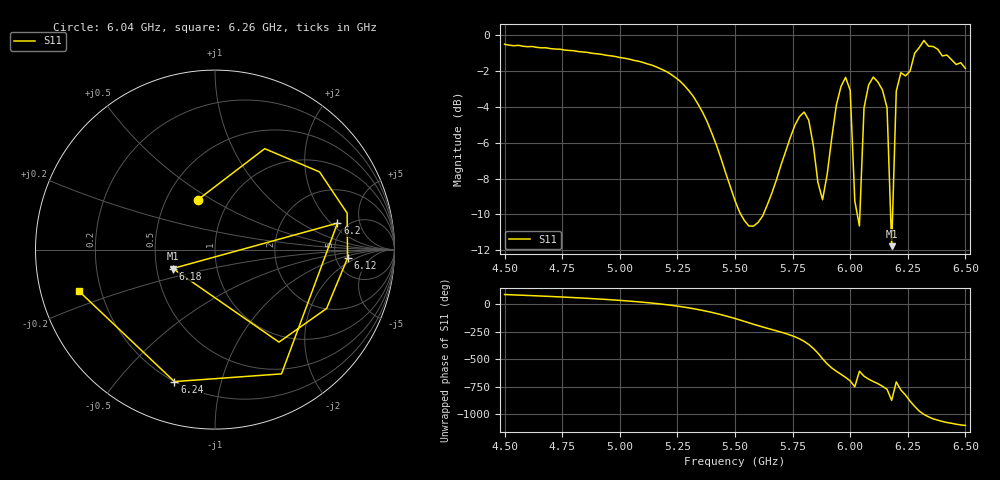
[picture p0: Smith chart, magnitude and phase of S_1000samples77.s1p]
! TOUCHSTONE file generated by CST MICROWAVE STUDIO
! Date and time: Wed Oct 26 22:07:00 2022
! Project name: L.cst
! Parameters = {Di=1.27; Epsilon_r=1.56; InnerDiameter=1.27; Length=2; Lf=10; Lg=60; OuterConductorThickness=0.2921; OuterDiameter=3.6; Wf=3; Wp=41.2; de=1.5; df=6.8; g=0.8; gx=4.51742; gy=2.35606; h=2.34; hf=1.524; px=12.0983; py=14.5677; w=9.7; wx=7.58083; wy=12.2116}
! Header version: 2018
! Port assignment regex: !\s*Touchstone port\s*([0-9]+)\s*=\s*(CST MWS port|CST DS port)\s*([0-9]+|Zmin|Zmax)\s*\(\"(.*)\"\)(\s*mode\s*([0-9]+))?.*
! Touchstone port assignment:
! Touchstone port 1 = CST MWS port 1 ("")
# GHz S DB R 50
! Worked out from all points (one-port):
!   101 points, 4.5 GHz to 6.5 GHz, reference 50 ohm
!   lowest |S11| = -11.8 dB at 6.18 GHz (marker M1), VSWR 1.69, Z = 30.4 - j6.86 ohm
!   |S11| at or under -10 dB: 5.525 GHz to 5.623 GHz (97.35 MHz wide, 1.75 % of centre); 6.030723 GHz to 6.04196 GHz (11.24 MHz wide, 0.186 % of centre); 6.175405 GHz to 6.184096 GHz (8.691 MHz wide, 0.141 % of centre)
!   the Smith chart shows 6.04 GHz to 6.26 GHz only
!   S11 on the Smith chart (normalised r, x): 6.04 GHz: 0.72, +0.43; 6.12 GHz: 6.41, -1.34; 6.18 GHz: 0.61, -0.14; 6.2 GHz: 4.18, +2.41; 6.24 GHz: 0.20, -0.72; 6.26 GHz: 0.12, -0.15
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4.5  -0.51 86.0
4.76  -0.84 62.5
5  -1.25 32.9
5.26  -2.55 -22.3
5.38  -4.86 -67.4
5.5  -9.23 -131.8
5.66  -8.81 128.0
5.76  -5.03 62.1
5.82  -4.74 -7.7
5.86  -8.22 -86.5
5.92  -5.74 138.6
5.96  -2.87 81.2
6  -3.09 20.8
6.02  -9.25 -32.5
6.04  -10.65 109.0
6.06  -4.06 63.8
6.12  -2.62 -3.7
6.16  -4.06 -55.3
6.18  -11.77 -155.9
6.2  -3.12 12.2
6.22  -2.10 -61.9
6.24  -2.28 -107.1
6.26  -2.00 -163.2
6.28  -1.01 148.6
6.3  -0.69 105.9
6.32  -0.30 76.2
6.38  -0.79 24.3
6.5  -1.86 -23.9
